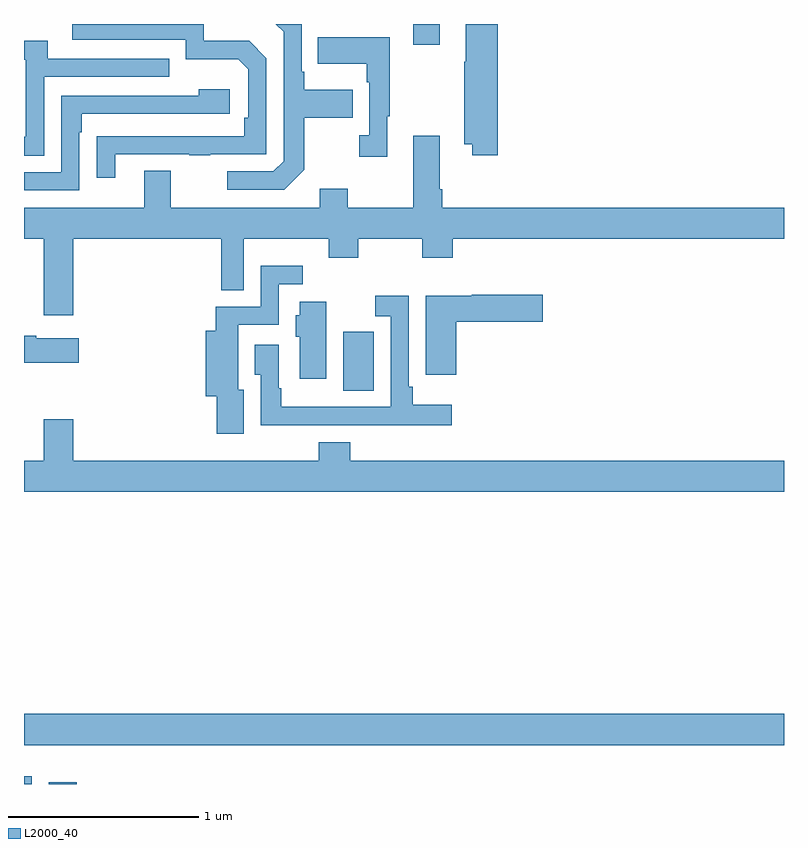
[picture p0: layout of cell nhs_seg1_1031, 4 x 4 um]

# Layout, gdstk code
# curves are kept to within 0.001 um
import gdstk
lib = gdstk.Library(unit=1e-6, precision=1e-09)
def R(c, l, rs):  # rectangles x0, y0, x1, y1
    for r in rs: c.add(gdstk.rectangle(r[:2], r[2:], *l))
def P(c, l, *ps):  # polygons
    for p in ps: c.add(gdstk.Polygon(p, *l))
L2000_40 = (2000, 40)

nhs_seg1_1031 = lib.new_cell('nhs_seg1_1031')
R(nhs_seg1_1031, L2000_40, [(167,546.199,167.041,546.241), (167.129,546.199,167.278,546.208), (167,546.404,171,546.568), (168.68,548.269,168.841,548.58), (169.049,550.089,169.189,550.199)])
P(nhs_seg1_1031, L2000_40, [(167.479,549.513),(167.869,549.513),(167.869,549.508),(167.981,549.508),(167.981,549.513),(168.276,549.513),(168.276,550.02),(168.186,550.11),(167.946,550.11),(167.946,550.199),(167.255,550.199),(167.255,550.116),(167.85,550.116),(167.85,550.013),(168.127,550.013),(168.18,549.96),(168.18,549.706),(168.16,549.706),(168.16,549.609),(167.383,549.608),(167.383,549.39),(167.479,549.39)],
  [(169.493,550.199),(169.325,550.199),(169.325,550.001),(169.318,550.001),(169.318,549.566),(169.358,549.566),(169.358,549.507),(169.493,549.507)],
  [(168.475,549.433),(168.475,549.706),(168.731,549.706),(168.731,549.853),(168.475,549.853),(168.475,549.949),(168.462,549.949),(168.462,550.199),(168.325,550.199),(168.366,550.158),(168.366,549.477),(168.312,549.423),(168.069,549.423),(168.069,549.327),(168.369,549.327)],
  [(168.913,549.713),(168.925,549.713),(168.925,550.129),(168.547,550.129),(168.547,549.989),(168.804,549.989),(168.804,549.893),(168.816,549.893),(168.816,549.614),(168.765,549.614),(168.765,549.501),(168.913,549.501)],
  [(167.106,549.921),(167.765,549.921),(167.765,550.017),(167.125,550.017),(167.125,550.111),(167,550.111),(167,550.011),(167.01,550.011),(167.01,549.606),(167,549.606),(167,549.505),(167.106,549.505)],
  [(167.292,549.629),(167.305,549.629),(167.305,549.726),(168.082,549.726),(168.082,549.856),(167.921,549.856),(167.921,549.822),(167.196,549.822),(167.196,549.42),(167,549.42),(167,549.324),(167.292,549.324)],
  [(167.258,549.068),(168.039,549.068),(168.039,548.797),(168.157,548.797),(168.157,549.068),(168.604,549.068),(168.604,548.969),(168.759,548.969),(168.759,549.068),(169.096,549.068),(169.096,548.969),(169.256,548.969),(169.256,549.068),(171,549.068),(171,549.232),(169.202,549.232),(169.202,549.328),(169.189,549.328),(169.189,549.61),(169.049,549.61),(169.049,549.232),(168.705,549.232),(168.705,549.331),(168.557,549.331),(168.557,549.232),(167.773,549.232),(167.773,549.427),(167.633,549.427),(167.633,549.232),(167,549.232),(167,549.068),(167.105,549.068),(167.105,548.667),(167.258,548.667)],
  [(168.157,548.275),(168.127,548.275),(168.127,548.616),(168.342,548.616),(168.342,548.829),(168.466,548.829),(168.466,548.926),(168.246,548.926),(168.246,548.712),(168.009,548.712),(168.009,548.584),(167.957,548.584),(167.957,548.24),(168.014,548.24),(168.014,548.043),(168.157,548.043)],
  [(169.274,548.633),(169.729,548.633),(169.729,548.775),(169.357,548.775),(169.357,548.77),(169.115,548.77),(169.115,548.352),(169.274,548.352)],
  [(168.467,548.088),(168.833,548.088),(168.833,548.087),(169.252,548.087),(169.252,548.194),(169.046,548.194),(169.046,548.29),(169.026,548.29),(169.026,548.77),(168.849,548.77),(168.849,548.661),(168.93,548.661),(168.93,548.184),(168.584,548.184),(168.584,548.185),(168.355,548.185),(168.355,548.281),(168.342,548.281),(168.342,548.512),(168.215,548.512),(168.215,548.353),(168.246,548.353),(168.246,548.087),(168.467,548.087)],
  [(168.592,548.737),(168.452,548.737),(168.452,548.667),(168.431,548.667),(168.431,548.553),(168.452,548.553),(168.452,548.331),(168.592,548.331)],
  [(167.287,548.545),(167.065,548.545),(167.065,548.558),(167,548.558),(167,548.416),(167.287,548.416)],
  [(171,547.9),(168.716,547.9),(168.716,547.999),(168.551,547.999),(168.551,547.9),(167.258,547.9),(167.258,548.119),(167.105,548.119),(167.105,547.9),(167,547.9),(167,547.736),(171,547.736)])

lib.write_gds('nhs_seg1_1031.gds')
